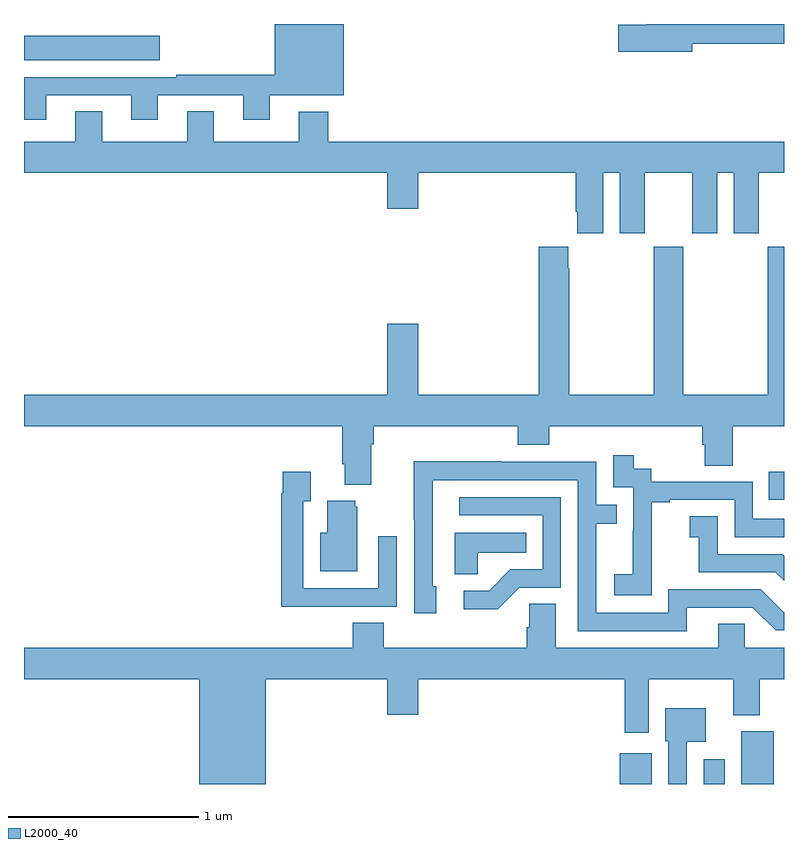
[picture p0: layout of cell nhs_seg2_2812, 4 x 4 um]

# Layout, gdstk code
import gdstk
lib = gdstk.Library(unit=1e-6, precision=1e-09)
def R(c, l, rs):  # rectangles x0, y0, x1, y1
    for r in rs: c.add(gdstk.rectangle(r[:2], r[2:], *l))
def P(c, l, *ps):  # polygons
    for p in ps: c.add(gdstk.Polygon(p, *l))
L2000_40 = (2000, 40)

nhs_seg2_2812 = lib.new_cell('nhs_seg2_2812')
R(nhs_seg2_2812, L2000_40, [(262.136,597.8,262.303,597.961), (262.577,597.8,262.687,597.931), (262.775,597.8,262.945,598.078), (262.921,599.295,263,599.443), (259,601.61,259.714,601.738)])
P(nhs_seg2_2812, L2000_40, [(259.117,601.425),(259.565,601.425),(259.565,601.296),(259.705,601.296),(259.705,601.425),(260.153,601.425),(260.153,601.296),(260.293,601.296),(260.293,601.424),(260.683,601.424),(260.683,601.8),(260.321,601.8),(260.321,601.534),(259.801,601.534),(259.801,601.521),(259,601.521),(259,601.296),(259.117,601.296)],
  [(262.516,601.696),(263,601.696),(263,601.8),(262.277,601.8),(262.277,601.796),(262.128,601.796),(262.128,601.654),(262.516,601.654)],
  [(262.048,601.016),(262.136,601.016),(262.136,600.699),(262.267,600.699),(262.267,601.016),(262.517,601.016),(262.517,600.699),(262.648,600.699),(262.648,601.016),(262.736,601.016),(262.736,600.699),(262.867,600.699),(262.867,601.016),(263,601.016),(263,601.18),(260.6,601.18),(260.6,601.339),(260.447,601.339),(260.447,601.18),(259.999,601.18),(259.999,601.34),(259.859,601.34),(259.859,601.18),(259.411,601.18),(259.411,601.34),(259.271,601.34),(259.271,601.18),(259,601.18),(259,601.016),(260.912,601.016),(260.912,600.828),(261.076,600.828),(261.076,601.016),(261.904,601.016),(261.904,600.811),(261.911,600.811),(261.911,600.699),(262.048,600.699)],
  [(263,600.628),(262.915,600.628),(262.915,599.848),(262.47,599.848),(262.47,600.628),(262.315,600.628),(262.315,599.848),(261.87,599.848),(261.87,600.515),(261.865,600.515),(261.865,600.628),(261.71,600.628),(261.71,599.848),(261.076,599.848),(261.076,600.223),(260.912,600.223),(260.912,599.848),(259,599.848),(259,599.684),(260.675,599.684),(260.675,599.482),(260.687,599.482),(260.687,599.375),(260.827,599.375),(260.827,599.588),(260.84,599.588),(260.84,599.684),(261.599,599.684),(261.599,599.585),(261.764,599.585),(261.764,599.684),(262.571,599.684),(262.571,599.586),(262.583,599.586),(262.583,599.476),(262.731,599.476),(262.731,599.684),(263,599.684)],
  [(262.305,598.999),(262.304,598.999),(262.304,599.283),(262.399,599.283),(262.399,599.295),(262.74,599.295),(262.74,599.1),(263,599.1),(263,599.196),(262.836,599.196),(262.836,599.391),(262.302,599.391),(262.302,599.46),(262.21,599.46),(262.21,599.53),(262.101,599.53),(262.101,599.361),(262.206,599.361),(262.206,599.132),(262.205,599.132),(262.205,598.903),(262.107,598.903),(262.107,598.793),(262.305,598.793)],
  [(262.489,598.728),(262.836,598.728),(262.956,598.608),(263,598.608),(263,598.704),(262.998,598.704),(262.878,598.824),(262.392,598.824),(262.392,598.701),(262.011,598.701),(262.011,599.17),(262.121,599.17),(262.121,599.271),(262.011,599.271),(262.011,599.496),(261.515,599.496),(261.515,599.498),(261.052,599.498),(261.052,599.191),(261.054,599.191),(261.054,598.698),(261.169,598.698),(261.169,598.842),(261.15,598.842),(261.15,599.4),(261.915,599.4),(261.915,598.605),(262.489,598.605)],
  [(260.645,598.734),(260.961,598.734),(260.961,599.104),(260.865,599.104),(260.865,598.83),(260.469,598.83),(260.469,599.287),(260.509,599.287),(260.509,599.443),(260.361,599.443),(260.361,599.33),(260.353,599.33),(260.353,598.733),(260.645,598.733)],
  [(261.606,598.833),(261.825,598.833),(261.825,599.31),(261.291,599.31),(261.291,599.214),(261.729,599.214),(261.729,598.929),(261.56,598.929),(261.449,598.818),(261.315,598.818),(261.315,598.721),(261.493,598.721)],
  [(260.755,599.259),(260.744,599.259),(260.744,599.29),(260.597,599.29),(260.597,599.122),(260.558,599.122),(260.558,598.919),(260.755,598.919)],
  [(263,599.002),(262.992,599.01),(262.65,599.01),(262.65,599.209),(262.503,599.209),(262.503,599.099),(262.552,599.099),(262.552,598.914),(262.955,598.914),(263,598.869)],
  [(261.387,599.018),(261.644,599.018),(261.644,599.122),(261.266,599.122),(261.266,598.903),(261.387,598.903)],
  [(259,598.352),(259.922,598.352),(259.922,597.8),(260.272,597.8),(260.272,598.352),(260.912,598.352),(260.912,598.164),(261.076,598.164),(261.076,598.352),(262.163,598.352),(262.163,598.071),(262.288,598.071),(262.288,598.352),(262.733,598.352),(262.733,598.163),(262.873,598.163),(262.873,598.352),(263,598.352),(263,598.516),(262.794,598.516),(262.794,598.643),(262.655,598.643),(262.655,598.516),(261.799,598.516),(261.799,598.748),(261.66,598.748),(261.66,598.625),(261.647,598.625),(261.647,598.516),(260.894,598.516),(260.894,598.649),(260.729,598.649),(260.729,598.516),(259,598.516)],
  [(262.488,598.022),(262.588,598.022),(262.588,598.198),(262.376,598.198),(262.376,598.026),(262.392,598.026),(262.392,597.8),(262.488,597.8)])

lib.write_gds('nhs_seg2_2812.gds')
